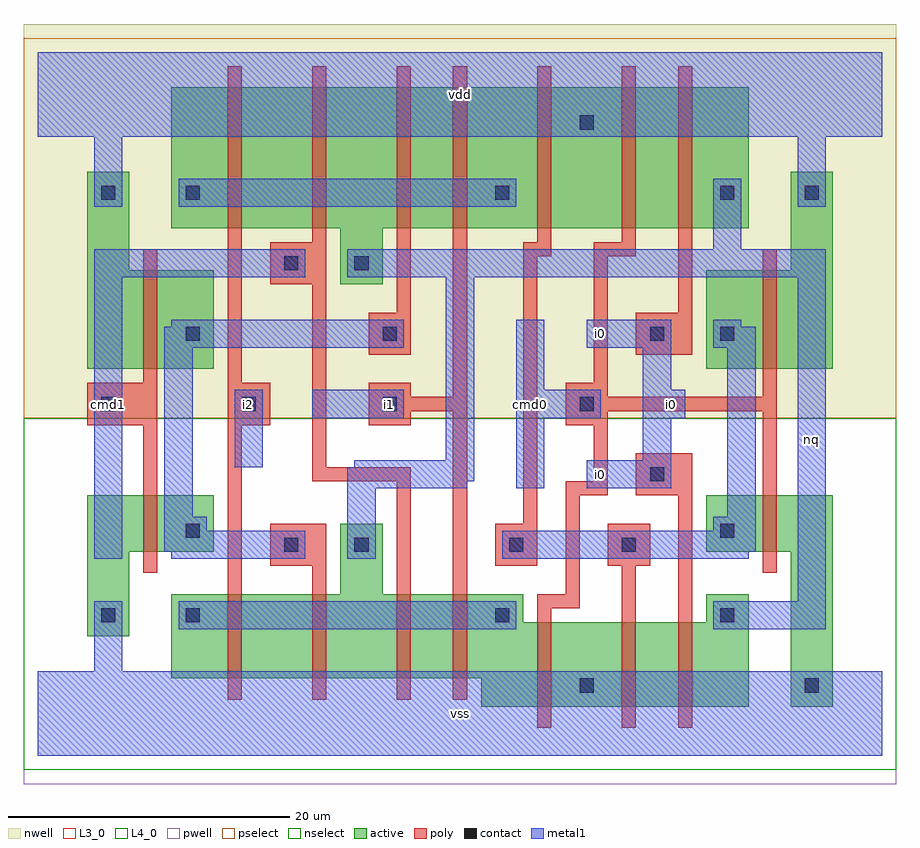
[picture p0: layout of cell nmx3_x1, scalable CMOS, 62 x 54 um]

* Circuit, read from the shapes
.subckt nmx3_x1 cmd0 cmd1 i0 i1 i2 nq vdd vss
M1 n1 cmd1 vss VSUBS nfet w=4u l=1u
M2 n2 i2 n3 VSUBS nfet w=6u l=1u
M3 nq n1 n2 VSUBS nfet w=6u l=1u
M4 n4 cmd1 nq VSUBS nfet w=6u l=1u
M5 n3 i1 n4 VSUBS nfet w=6u l=1u
M6 vss cmd0 n3 VSUBS nfet w=6u l=1u
M7 n5 n6 vss VSUBS nfet w=6u l=1u
M8 nq i0 n5 VSUBS nfet w=6u l=1u
M9 vss cmd0 n6 VSUBS nfet w=4u l=1u
M10 n1 cmd1 vdd n7 pfet w=7u l=1u
M11 n8 i2 n9 n7 pfet w=10u l=1u
M12 nq cmd1 n8 n7 pfet w=10u l=1u
M13 n10 n1 nq n7 pfet w=10u l=1u
M14 n9 i1 n10 n7 pfet w=10u l=1u
M15 vdd n6 n9 n7 pfet w=10u l=1u
M16 n11 cmd0 vdd n7 pfet w=10u l=1u
M17 nq i0 n11 n7 pfet w=10u l=1u
M18 vdd cmd0 n6 n7 pfet w=7u l=1u
.ends

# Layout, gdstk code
import gdstk
lib = gdstk.Library(unit=1e-6, precision=1e-09)
def R(c, l, rs):  # rectangles x0, y0, x1, y1
    for r in rs: c.add(gdstk.rectangle(r[:2], r[2:], *l))
def A(c, l, x, y, w, h, nx, ny, dx, dy):  # array of equal rectangles
    R(c, l, [(x+i*dx, y+j*dy, x+i*dx+w, y+j*dy+h) for i in range(nx) for j in range(ny)])
L3_0 = (3, 0)
L4_0 = (4, 0)
contact = (25, 0)
pwell = (41, 0)
nwell = (42, 0)
active = (43, 0)
pselect = (44, 0)
nselect = (45, 0)
poly = (46, 0)
metal1 = (49, 0)

nmx3_x1 = lib.new_cell('nmx3_x1')
R(nmx3_x1, L3_0, [(31.5,3.5,50.5,5.5), (53.5,3.5,56.5,14.5), (9.5,5.5,50.5,9.5), (3.5,8.5,6.5,14.5), (9.5,9.5,34.5,11.5), (47.5,9.5,50.5,11.5), (21.5,11.5,24.5,16.5), (3.5,14.5,12.5,18.5), (47.5,14.5,56.5,18.5)])
R(nmx3_x1, L4_0, [(3.5,27.5,12.5,34.5), (47.5,27.5,56.5,34.5), (21.5,33.5,24.5,37.5), (3.5,34.5,6.5,41.5), (53.5,34.5,56.5,41.5), (9.5,37.5,50.5,47.5)])
A(nmx3_x1, contact, 38.5, 4.5, 1, 1, 1, 3, 0, 20)
A(nmx3_x1, contact, 4.5, 24.5, 1, 1, 3, 1, 10, 0)
R(nmx3_x1, contact, [(54.5,4.5,55.5,5.5), (4.5,9.5,5.5,10.5), (10.5,9.5,11.5,10.5), (32.5,9.5,33.5,10.5), (48.5,9.5,49.5,10.5), (17.5,14.5,18.5,15.5), (22.5,14.5,23.5,15.5), (33.5,14.5,34.5,15.5), (41.5,14.5,42.5,15.5), (10.5,15.5,11.5,16.5), (48.5,15.5,49.5,16.5), (43.5,19.5,44.5,20.5), (10.5,29.5,11.5,30.5), (24.5,29.5,25.5,30.5), (43.5,29.5,44.5,30.5), (48.5,29.5,49.5,30.5), (17.5,34.5,18.5,35.5), (22.5,34.5,23.5,35.5), (4.5,39.5,5.5,40.5), (10.5,39.5,11.5,40.5), (32.5,39.5,33.5,40.5), (48.5,39.5,49.5,40.5), (54.5,39.5,55.5,40.5)])
R(nmx3_x1, pwell, [(-1,-2,61,24)])
R(nmx3_x1, nwell, [(-1,24,61,52)])
R(nmx3_x1, active, [(31.5,3.5,50.5,5.5), (53.5,3.5,56.5,14.5), (9.5,5.5,50.5,9.5), (3.5,8.5,6.5,14.5), (9.5,9.5,34.5,11.5), (47.5,9.5,50.5,11.5), (21.5,11.5,24.5,16.5), (3.5,14.5,12.5,18.5), (47.5,14.5,56.5,18.5), (3.5,27.5,12.5,34.5), (47.5,27.5,56.5,34.5), (21.5,33.5,24.5,37.5), (3.5,34.5,6.5,41.5), (53.5,34.5,56.5,41.5), (9.5,37.5,50.5,47.5)])
R(nmx3_x1, pselect, [(-1,24,61,51)])
R(nmx3_x1, nselect, [(-1,-1,61,24)])
R(nmx3_x1, poly, [(35.5,2,36.5,10.5), (41.5,2,42.5,13.5), (45.5,2,46.5,18.5), (13.5,4,14.5,23.5), (19.5,4,20.5,13.5), (25.5,4,26.5,19.5), (29.5,4,30.5,24.5), (35.5,10.5,38.5,11.5), (37.5,11.5,38.5,18.5), (7.5,13,8.5,23.5), (51.5,13,52.5,24.5), (16.5,13.5,20.5,16.5), (32.5,13.5,35.5,16.5), (40.5,13.5,43.5,16.5), (34.5,16.5,35.5,35.5), (37.5,18.5,40.5,19.5), (42.5,18.5,46.5,21.5), (19.5,19.5,26.5,20.5), (39.5,19.5,40.5,23.5), (19.5,20.5,20.5,33.5), (3.5,23.5,8.5,26.5), (13.5,23.5,16.5,26.5), (23.5,23.5,26.5,24.5), (37.5,23.5,40.5,24.5), (23.5,24.5,30.5,25.5), (37.5,24.5,52.5,25.5), (23.5,25.5,26.5,26.5), (29.5,25.5,30.5,49), (37.5,25.5,40.5,26.5), (51.5,25.5,52.5,36), (7.5,26.5,8.5,36), (13.5,26.5,14.5,49), (39.5,26.5,40.5,35.5), (23.5,28.5,26.5,31.5), (42.5,28.5,46.5,31.5), (25.5,31.5,26.5,49), (45.5,31.5,46.5,49), (16.5,33.5,20.5,36.5), (34.5,35.5,36.5,36.5), (39.5,35.5,42.5,36.5), (19.5,36.5,20.5,49), (35.5,36.5,36.5,49), (41.5,36.5,42.5,49)])
R(nmx3_x1, metal1, [(0,0,60,6), (4,6,6,11), (10,9,34,11), (48,9,56,11), (54,11,56,34), (4,14,6,34), (9.5,14,19,14.5), (22,14,24,19), (33,14,50.5,14.5), (9,14.5,19,16), (33,14.5,51,16), (9,16,12,17), (48,16,51,17), (9,17,11,29), (49,17,51,29), (22,19,30.5,19.5), (34,19,36,24), (39,19,45,21), (22,19.5,31,20.5), (14,20.5,16,26), (22.5,20.5,31,21), (29,21,31,34), (43,21,45,24), (19.5,24,26,26), (34,24,40,26), (43,24,46,26), (34,26,36,31), (43,26,45,29), (9,29,26,30.5), (39,29,45,31), (48,29,51,30.5), (9.5,30.5,26,31), (48,30.5,50,31), (4,34,19,36), (22,34,56,36), (48,36,50,41), (4,39,6,44), (10,39,34,41), (54,39,56,44), (0,44,60,50)])
nmx3_x1.add(gdstk.Label('cmd1', (5,25), layer=49, texttype=0))
nmx3_x1.add(gdstk.Label('i2', (15,25), layer=49, texttype=0))
nmx3_x1.add(gdstk.Label('vss', (30,3), layer=49, texttype=0))
nmx3_x1.add(gdstk.Label('i1', (25,25), layer=49, texttype=0))
nmx3_x1.add(gdstk.Label('vdd', (30,47), layer=49, texttype=0))
nmx3_x1.add(gdstk.Label('i0', (40,20), layer=49, texttype=0))
nmx3_x1.add(gdstk.Label('cmd0', (35,25), layer=49, texttype=0))
nmx3_x1.add(gdstk.Label('i0', (45,25), layer=49, texttype=0))
nmx3_x1.add(gdstk.Label('i0', (40,30), layer=49, texttype=0))
nmx3_x1.add(gdstk.Label('nq', (55,22.5), layer=49, texttype=0))

lib.write_gds('nmx3_x1.gds')
